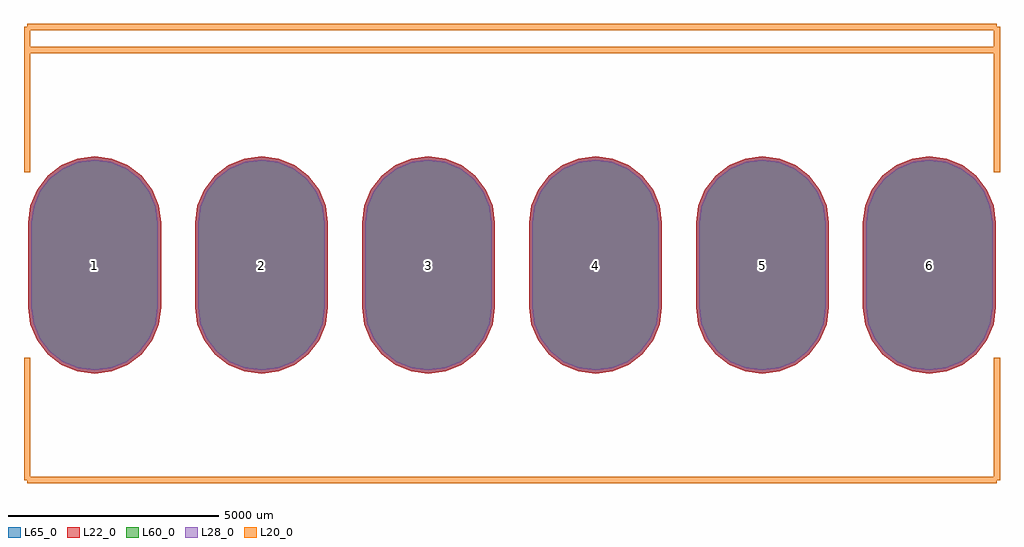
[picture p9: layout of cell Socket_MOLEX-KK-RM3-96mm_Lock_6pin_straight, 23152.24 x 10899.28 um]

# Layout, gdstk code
import gdstk
lib = gdstk.Library(unit=1e-6, precision=1e-09)
def P(c, l, *ps):  # polygons
    for p in ps: c.add(gdstk.Polygon(p, *l))
L20_0 = (20, 0)
L22_0 = (22, 0)
L28_0 = (28, 0)
L60_0 = (60, 0)
L65_0 = (65, 0)

socket_molex_kk_rm3_96mm = lib.new_cell('Socket_MOLEX-KK-RM3-96mm_Lock_6pin_straight')
P(socket_molex_kk_rm3_96mm, L22_0, [(9900.92,-2575.63),(10308.526,-2521.968),(10688.355,-2364.637),(11014.521,-2114.361),(11264.797,-1788.195),(11422.128,-1408.366),(11475.79,-1000.76),(11475.79,1000.76),(11422.128,1408.366),(11264.797,1788.195),(11014.521,2114.361),(10688.355,2364.637),(10308.526,2521.968),(9900.92,2575.63),(9493.314,2521.968),(9113.485,2364.637),(8787.319,2114.361),(8537.043,1788.195),(8379.712,1408.366),(8326.05,1000.76),(8326.05,-1000.76),(8379.712,-1408.366),(8537.043,-1788.195),(8787.319,-2114.361),(9113.485,-2364.637),(9493.314,-2521.968)],
  [(-9900.92,-2575.63),(-9493.314,-2521.968),(-9113.485,-2364.637),(-8787.319,-2114.361),(-8537.043,-1788.195),(-8379.712,-1408.366),(-8326.05,-1000.76),(-8326.05,1000.76),(-8379.712,1408.366),(-8537.043,1788.195),(-8787.319,2114.361),(-9113.485,2364.637),(-9493.314,2521.968),(-9900.92,2575.63),(-10308.526,2521.968),(-10688.355,2364.637),(-11014.521,2114.361),(-11264.797,1788.195),(-11422.128,1408.366),(-11475.79,1000.76),(-11475.79,-1000.76),(-11422.128,-1408.366),(-11264.797,-1788.195),(-11014.521,-2114.361),(-10688.355,-2364.637),(-10308.526,-2521.968)],
  [(5941.06,-2575.63),(6348.666,-2521.968),(6728.495,-2364.637),(7054.661,-2114.361),(7304.937,-1788.195),(7462.268,-1408.366),(7515.93,-1000.76),(7515.93,1000.76),(7462.268,1408.366),(7304.937,1788.195),(7054.661,2114.361),(6728.495,2364.637),(6348.666,2521.968),(5941.06,2575.63),(5533.454,2521.968),(5153.625,2364.637),(4827.459,2114.361),(4577.183,1788.195),(4419.852,1408.366),(4366.19,1000.76),(4366.19,-1000.76),(4419.852,-1408.366),(4577.183,-1788.195),(4827.459,-2114.361),(5153.625,-2364.637),(5533.454,-2521.968)],
  [(-5941.06,-2575.63),(-5533.454,-2521.968),(-5153.625,-2364.637),(-4827.459,-2114.361),(-4577.183,-1788.195),(-4419.852,-1408.366),(-4366.19,-1000.76),(-4366.19,1000.76),(-4419.852,1408.366),(-4577.183,1788.195),(-4827.459,2114.361),(-5153.625,2364.637),(-5533.454,2521.968),(-5941.06,2575.63),(-6348.666,2521.968),(-6728.495,2364.637),(-7054.661,2114.361),(-7304.937,1788.195),(-7462.268,1408.366),(-7515.93,1000.76),(-7515.93,-1000.76),(-7462.268,-1408.366),(-7304.937,-1788.195),(-7054.661,-2114.361),(-6728.495,-2364.637),(-6348.666,-2521.968)],
  [(1981.2,-2575.63),(2388.806,-2521.968),(2768.635,-2364.637),(3094.801,-2114.361),(3345.077,-1788.195),(3502.408,-1408.366),(3556.07,-1000.76),(3556.07,1000.76),(3502.408,1408.366),(3345.077,1788.195),(3094.801,2114.361),(2768.635,2364.637),(2388.806,2521.968),(1981.2,2575.63),(1573.594,2521.968),(1193.765,2364.637),(867.599,2114.361),(617.323,1788.195),(459.992,1408.366),(406.33,1000.76),(406.33,-1000.76),(459.992,-1408.366),(617.323,-1788.195),(867.599,-2114.361),(1193.765,-2364.637),(1573.594,-2521.968)],
  [(-1981.2,-2575.63),(-1573.594,-2521.968),(-1193.765,-2364.637),(-867.599,-2114.361),(-617.323,-1788.195),(-459.992,-1408.366),(-406.33,-1000.76),(-406.33,1000.76),(-459.992,1408.366),(-617.323,1788.195),(-867.599,2114.361),(-1193.765,2364.637),(-1573.594,2521.968),(-1981.2,2575.63),(-2388.806,2521.968),(-2768.635,2364.637),(-3094.801,2114.361),(-3345.077,1788.195),(-3502.408,1408.366),(-3556.07,1000.76),(-3556.07,-1000.76),(-3502.408,-1408.366),(-3345.077,-1788.195),(-3094.801,-2114.361),(-2768.635,-2364.637),(-2388.806,-2521.968)])
P(socket_molex_kk_rm3_96mm, L28_0, [(9900.92,-2500.63),(10289.115,-2449.523),(10650.855,-2299.686),(10961.488,-2061.328),(11199.846,-1750.695),(11349.683,-1388.955),(11400.79,-1000.76),(11400.79,1000.76),(11349.683,1388.955),(11199.846,1750.695),(10961.488,2061.328),(10650.855,2299.686),(10289.115,2449.523),(9900.92,2500.63),(9512.725,2449.523),(9150.985,2299.686),(8840.352,2061.328),(8601.994,1750.695),(8452.157,1388.955),(8401.05,1000.76),(8401.05,-1000.76),(8452.157,-1388.955),(8601.994,-1750.695),(8840.352,-2061.328),(9150.985,-2299.686),(9512.725,-2449.523)],
  [(-9900.92,-2500.63),(-9512.725,-2449.523),(-9150.985,-2299.686),(-8840.352,-2061.328),(-8601.994,-1750.695),(-8452.157,-1388.955),(-8401.05,-1000.76),(-8401.05,1000.76),(-8452.157,1388.955),(-8601.994,1750.695),(-8840.352,2061.328),(-9150.985,2299.686),(-9512.725,2449.523),(-9900.92,2500.63),(-10289.115,2449.523),(-10650.855,2299.686),(-10961.488,2061.328),(-11199.846,1750.695),(-11349.683,1388.955),(-11400.79,1000.76),(-11400.79,-1000.76),(-11349.683,-1388.955),(-11199.846,-1750.695),(-10961.488,-2061.328),(-10650.855,-2299.686),(-10289.115,-2449.523)],
  [(5941.06,-2500.63),(6329.255,-2449.523),(6690.995,-2299.686),(7001.628,-2061.328),(7239.986,-1750.695),(7389.823,-1388.955),(7440.93,-1000.76),(7440.93,1000.76),(7389.823,1388.955),(7239.986,1750.695),(7001.628,2061.328),(6690.995,2299.686),(6329.255,2449.523),(5941.06,2500.63),(5552.865,2449.523),(5191.125,2299.686),(4880.492,2061.328),(4642.134,1750.695),(4492.297,1388.955),(4441.19,1000.76),(4441.19,-1000.76),(4492.297,-1388.955),(4642.134,-1750.695),(4880.492,-2061.328),(5191.125,-2299.686),(5552.865,-2449.523)],
  [(-5941.06,-2500.63),(-5552.865,-2449.523),(-5191.125,-2299.686),(-4880.492,-2061.328),(-4642.134,-1750.695),(-4492.297,-1388.955),(-4441.19,-1000.76),(-4441.19,1000.76),(-4492.297,1388.955),(-4642.134,1750.695),(-4880.492,2061.328),(-5191.125,2299.686),(-5552.865,2449.523),(-5941.06,2500.63),(-6329.255,2449.523),(-6690.995,2299.686),(-7001.628,2061.328),(-7239.986,1750.695),(-7389.823,1388.955),(-7440.93,1000.76),(-7440.93,-1000.76),(-7389.823,-1388.955),(-7239.986,-1750.695),(-7001.628,-2061.328),(-6690.995,-2299.686),(-6329.255,-2449.523)],
  [(1981.2,-2500.63),(2369.395,-2449.523),(2731.135,-2299.686),(3041.768,-2061.328),(3280.126,-1750.695),(3429.963,-1388.955),(3481.07,-1000.76),(3481.07,1000.76),(3429.963,1388.955),(3280.126,1750.695),(3041.768,2061.328),(2731.135,2299.686),(2369.395,2449.523),(1981.2,2500.63),(1593.005,2449.523),(1231.265,2299.686),(920.632,2061.328),(682.274,1750.695),(532.437,1388.955),(481.33,1000.76),(481.33,-1000.76),(532.437,-1388.955),(682.274,-1750.695),(920.632,-2061.328),(1231.265,-2299.686),(1593.005,-2449.523)],
  [(-1981.2,-2500.63),(-1593.005,-2449.523),(-1231.265,-2299.686),(-920.632,-2061.328),(-682.274,-1750.695),(-532.437,-1388.955),(-481.33,-1000.76),(-481.33,1000.76),(-532.437,1388.955),(-682.274,1750.695),(-920.632,2061.328),(-1231.265,2299.686),(-1593.005,2449.523),(-1981.2,2500.63),(-2369.395,2449.523),(-2731.135,2299.686),(-3041.768,2061.328),(-3280.126,1750.695),(-3429.963,1388.955),(-3481.07,1000.76),(-3481.07,-1000.76),(-3429.963,-1388.955),(-3280.126,-1750.695),(-3041.768,-2061.328),(-2731.135,-2299.686),(-2369.395,-2449.523)])
P(socket_molex_kk_rm3_96mm, L60_0, [(9900.92,-2500.63),(10289.115,-2449.523),(10650.855,-2299.686),(10961.488,-2061.328),(11199.846,-1750.695),(11349.683,-1388.955),(11400.79,-1000.76),(11400.79,1000.76),(11349.683,1388.955),(11199.846,1750.695),(10961.488,2061.328),(10650.855,2299.686),(10289.115,2449.523),(9900.92,2500.63),(9512.725,2449.523),(9150.985,2299.686),(8840.352,2061.328),(8601.994,1750.695),(8452.157,1388.955),(8401.05,1000.76),(8401.05,-1000.76),(8452.157,-1388.955),(8601.994,-1750.695),(8840.352,-2061.328),(9150.985,-2299.686),(9512.725,-2449.523)],
  [(-9900.92,-2500.63),(-9512.725,-2449.523),(-9150.985,-2299.686),(-8840.352,-2061.328),(-8601.994,-1750.695),(-8452.157,-1388.955),(-8401.05,-1000.76),(-8401.05,1000.76),(-8452.157,1388.955),(-8601.994,1750.695),(-8840.352,2061.328),(-9150.985,2299.686),(-9512.725,2449.523),(-9900.92,2500.63),(-10289.115,2449.523),(-10650.855,2299.686),(-10961.488,2061.328),(-11199.846,1750.695),(-11349.683,1388.955),(-11400.79,1000.76),(-11400.79,-1000.76),(-11349.683,-1388.955),(-11199.846,-1750.695),(-10961.488,-2061.328),(-10650.855,-2299.686),(-10289.115,-2449.523)],
  [(5941.06,-2500.63),(6329.255,-2449.523),(6690.995,-2299.686),(7001.628,-2061.328),(7239.986,-1750.695),(7389.823,-1388.955),(7440.93,-1000.76),(7440.93,1000.76),(7389.823,1388.955),(7239.986,1750.695),(7001.628,2061.328),(6690.995,2299.686),(6329.255,2449.523),(5941.06,2500.63),(5552.865,2449.523),(5191.125,2299.686),(4880.492,2061.328),(4642.134,1750.695),(4492.297,1388.955),(4441.19,1000.76),(4441.19,-1000.76),(4492.297,-1388.955),(4642.134,-1750.695),(4880.492,-2061.328),(5191.125,-2299.686),(5552.865,-2449.523)],
  [(-5941.06,-2500.63),(-5552.865,-2449.523),(-5191.125,-2299.686),(-4880.492,-2061.328),(-4642.134,-1750.695),(-4492.297,-1388.955),(-4441.19,-1000.76),(-4441.19,1000.76),(-4492.297,1388.955),(-4642.134,1750.695),(-4880.492,2061.328),(-5191.125,2299.686),(-5552.865,2449.523),(-5941.06,2500.63),(-6329.255,2449.523),(-6690.995,2299.686),(-7001.628,2061.328),(-7239.986,1750.695),(-7389.823,1388.955),(-7440.93,1000.76),(-7440.93,-1000.76),(-7389.823,-1388.955),(-7239.986,-1750.695),(-7001.628,-2061.328),(-6690.995,-2299.686),(-6329.255,-2449.523)],
  [(1981.2,-2500.63),(2369.395,-2449.523),(2731.135,-2299.686),(3041.768,-2061.328),(3280.126,-1750.695),(3429.963,-1388.955),(3481.07,-1000.76),(3481.07,1000.76),(3429.963,1388.955),(3280.126,1750.695),(3041.768,2061.328),(2731.135,2299.686),(2369.395,2449.523),(1981.2,2500.63),(1593.005,2449.523),(1231.265,2299.686),(920.632,2061.328),(682.274,1750.695),(532.437,1388.955),(481.33,1000.76),(481.33,-1000.76),(532.437,-1388.955),(682.274,-1750.695),(920.632,-2061.328),(1231.265,-2299.686),(1593.005,-2449.523)],
  [(-1981.2,-2500.63),(-1593.005,-2449.523),(-1231.265,-2299.686),(-920.632,-2061.328),(-682.274,-1750.695),(-532.437,-1388.955),(-481.33,-1000.76),(-481.33,1000.76),(-532.437,1388.955),(-682.274,1750.695),(-920.632,2061.328),(-1231.265,2299.686),(-1593.005,2449.523),(-1981.2,2500.63),(-2369.395,2449.523),(-2731.135,2299.686),(-3041.768,2061.328),(-3280.126,1750.695),(-3429.963,1388.955),(-3481.07,1000.76),(-3481.07,-1000.76),(-3429.963,-1388.955),(-3280.126,-1750.695),(-3041.768,-2061.328),(-2731.135,-2299.686),(-2369.395,-2449.523)])
P(socket_molex_kk_rm3_96mm, L65_0, [(9900.92,-2575.63),(10308.526,-2521.968),(10688.355,-2364.637),(11014.521,-2114.361),(11264.797,-1788.195),(11422.128,-1408.366),(11475.79,-1000.76),(11475.79,1000.76),(11422.128,1408.366),(11264.797,1788.195),(11014.521,2114.361),(10688.355,2364.637),(10308.526,2521.968),(9900.92,2575.63),(9493.314,2521.968),(9113.485,2364.637),(8787.319,2114.361),(8537.043,1788.195),(8379.712,1408.366),(8326.05,1000.76),(8326.05,-1000.76),(8379.712,-1408.366),(8537.043,-1788.195),(8787.319,-2114.361),(9113.485,-2364.637),(9493.314,-2521.968)],
  [(-9900.92,-2575.63),(-9493.314,-2521.968),(-9113.485,-2364.637),(-8787.319,-2114.361),(-8537.043,-1788.195),(-8379.712,-1408.366),(-8326.05,-1000.76),(-8326.05,1000.76),(-8379.712,1408.366),(-8537.043,1788.195),(-8787.319,2114.361),(-9113.485,2364.637),(-9493.314,2521.968),(-9900.92,2575.63),(-10308.526,2521.968),(-10688.355,2364.637),(-11014.521,2114.361),(-11264.797,1788.195),(-11422.128,1408.366),(-11475.79,1000.76),(-11475.79,-1000.76),(-11422.128,-1408.366),(-11264.797,-1788.195),(-11014.521,-2114.361),(-10688.355,-2364.637),(-10308.526,-2521.968)],
  [(5941.06,-2575.63),(6348.666,-2521.968),(6728.495,-2364.637),(7054.661,-2114.361),(7304.937,-1788.195),(7462.268,-1408.366),(7515.93,-1000.76),(7515.93,1000.76),(7462.268,1408.366),(7304.937,1788.195),(7054.661,2114.361),(6728.495,2364.637),(6348.666,2521.968),(5941.06,2575.63),(5533.454,2521.968),(5153.625,2364.637),(4827.459,2114.361),(4577.183,1788.195),(4419.852,1408.366),(4366.19,1000.76),(4366.19,-1000.76),(4419.852,-1408.366),(4577.183,-1788.195),(4827.459,-2114.361),(5153.625,-2364.637),(5533.454,-2521.968)],
  [(-5941.06,-2575.63),(-5533.454,-2521.968),(-5153.625,-2364.637),(-4827.459,-2114.361),(-4577.183,-1788.195),(-4419.852,-1408.366),(-4366.19,-1000.76),(-4366.19,1000.76),(-4419.852,1408.366),(-4577.183,1788.195),(-4827.459,2114.361),(-5153.625,2364.637),(-5533.454,2521.968),(-5941.06,2575.63),(-6348.666,2521.968),(-6728.495,2364.637),(-7054.661,2114.361),(-7304.937,1788.195),(-7462.268,1408.366),(-7515.93,1000.76),(-7515.93,-1000.76),(-7462.268,-1408.366),(-7304.937,-1788.195),(-7054.661,-2114.361),(-6728.495,-2364.637),(-6348.666,-2521.968)],
  [(1981.2,-2575.63),(2388.806,-2521.968),(2768.635,-2364.637),(3094.801,-2114.361),(3345.077,-1788.195),(3502.408,-1408.366),(3556.07,-1000.76),(3556.07,1000.76),(3502.408,1408.366),(3345.077,1788.195),(3094.801,2114.361),(2768.635,2364.637),(2388.806,2521.968),(1981.2,2575.63),(1573.594,2521.968),(1193.765,2364.637),(867.599,2114.361),(617.323,1788.195),(459.992,1408.366),(406.33,1000.76),(406.33,-1000.76),(459.992,-1408.366),(617.323,-1788.195),(867.599,-2114.361),(1193.765,-2364.637),(1573.594,-2521.968)],
  [(-1981.2,-2575.63),(-1573.594,-2521.968),(-1193.765,-2364.637),(-867.599,-2114.361),(-617.323,-1788.195),(-459.992,-1408.366),(-406.33,-1000.76),(-406.33,1000.76),(-459.992,1408.366),(-617.323,1788.195),(-867.599,2114.361),(-1193.765,2364.637),(-1573.594,2521.968),(-1981.2,2575.63),(-2388.806,2521.968),(-2768.635,2364.637),(-3094.801,2114.361),(-3345.077,1788.195),(-3502.408,1408.366),(-3556.07,1000.76),(-3556.07,-1000.76),(-3502.408,-1408.366),(-3345.077,-1788.195),(-3094.801,-2114.361),(-2768.635,-2364.637),(-2388.806,-2521.968)])
socket_molex_kk_rm3_96mm.add(gdstk.FlexPath([(11501.12,-5100.32),(11501.12,-2199.64)], 149.998, ends="flush", simple_path=True, layer=20, datatype=0))  # L20_0
socket_molex_kk_rm3_96mm.add(gdstk.FlexPath([(-11501.12,5100.32),(-11501.12,2199.64)], 149.998, ends="flush", simple_path=True, layer=20, datatype=0))  # L20_0
socket_molex_kk_rm3_96mm.add(gdstk.FlexPath([(11501.12,5100.32),(-11501.12,5100.32)], 149.998, ends="flush", simple_path=True, layer=20, datatype=0))  # L20_0
socket_molex_kk_rm3_96mm.add(gdstk.FlexPath([(11501.12,2199.64),(11501.12,5100.32)], 149.998, ends="flush", simple_path=True, layer=20, datatype=0))  # L20_0
socket_molex_kk_rm3_96mm.add(gdstk.FlexPath([(-11501.12,-5100.32),(11501.12,-5100.32)], 149.998, ends="flush", simple_path=True, layer=20, datatype=0))  # L20_0
socket_molex_kk_rm3_96mm.add(gdstk.FlexPath([(-11501.12,-2199.64),(-11501.12,-5100.32)], 149.998, ends="flush", simple_path=True, layer=20, datatype=0))  # L20_0
socket_molex_kk_rm3_96mm.add(gdstk.FlexPath([(-11501.12,5648.96),(-11501.12,5100.32)], 149.998, ends="flush", simple_path=True, layer=20, datatype=0))  # L20_0
socket_molex_kk_rm3_96mm.add(gdstk.FlexPath([(11501.12,5648.96),(-11501.12,5648.96)], 149.998, ends="flush", simple_path=True, layer=20, datatype=0))  # L20_0
socket_molex_kk_rm3_96mm.add(gdstk.FlexPath([(11501.12,5100.32),(11501.12,5648.96)], 149.998, ends="flush", simple_path=True, layer=20, datatype=0))  # L20_0
socket_molex_kk_rm3_96mm.add(gdstk.Label('6', (9900.92,0), layer=28, texttype=0))
socket_molex_kk_rm3_96mm.add(gdstk.Label('1', (-9900.92,0), layer=28, texttype=0))
socket_molex_kk_rm3_96mm.add(gdstk.Label('5', (5941.06,0), layer=28, texttype=0))
socket_molex_kk_rm3_96mm.add(gdstk.Label('2', (-5941.06,0), layer=28, texttype=0))
socket_molex_kk_rm3_96mm.add(gdstk.Label('4', (1981.2,0), layer=28, texttype=0))
socket_molex_kk_rm3_96mm.add(gdstk.Label('3', (-1981.2,0), layer=28, texttype=0))
socket_molex_kk_rm3_96mm.add(gdstk.Label('type', (1270,-7620), layer=9, texttype=0))
socket_molex_kk_rm3_96mm.add(gdstk.Label('devicename', (0,7620), layer=9, texttype=0))

lib.write_gds('Socket_MOLEX-KK-RM3-96mm_Lock_6pin_straight.gds')
